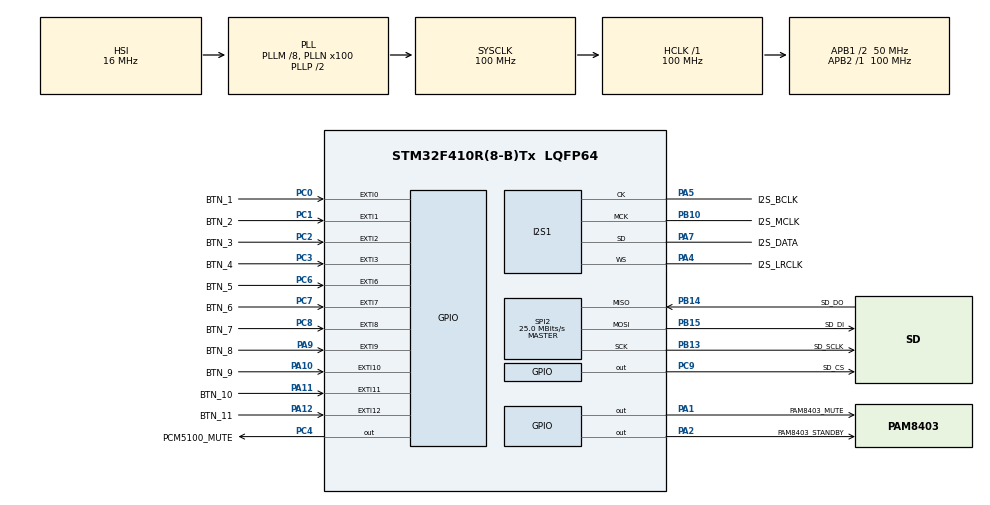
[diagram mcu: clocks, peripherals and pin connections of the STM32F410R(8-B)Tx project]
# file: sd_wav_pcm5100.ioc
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Dma.Request0=SPI1_TX
Dma.SPI1_TX.0.Direction=DMA_MEMORY_TO_PERIPH
Dma.SPI1_TX.0.FIFOMode=DMA_FIFOMODE_DISABLE
Dma.SPI1_TX.0.Instance=DMA2_Stream2
Dma.SPI1_TX.0.MemDataAlignment=DMA_MDATAALIGN_HALFWORD
Dma.SPI1_TX.0.MemInc=DMA_MINC_ENABLE
Dma.SPI1_TX.0.Mode=DMA_CIRCULAR
Dma.SPI1_TX.0.PeriphDataAlignment=DMA_PDATAALIGN_HALFWORD
Dma.SPI1_TX.0.PeriphInc=DMA_PINC_DISABLE
Dma.SPI1_TX.0.Priority=DMA_PRIORITY_MEDIUM
I2S1.AudioFreq=I2S_AUDIOFREQ_44K
I2S1.ErrorAudioFreq=-1.35 %
I2S1.FullDuplexMode=I2S_FULLDUPLEXMODE_DISABLE
I2S1.Instance=SPI$Index
I2S1.RealAudioFreq=43.402 KHz
I2S1.VirtualMode=I2S_MODE_MASTER
Mcu.Family=STM32F4
Mcu.Name=STM32F410R(8-B)Tx
Mcu.Package=LQFP64
NVIC.DMA2_Stream2_IRQn=true\:0\:0\:false\:false\:true\:true
NVIC.EXTI0_IRQn=true\:0\:0\:false\:false\:true\:true
NVIC.EXTI15_10_IRQn=true\:0\:0\:false\:false\:true\:true
NVIC.EXTI1_IRQn=true\:0\:0\:false\:false\:true\:true
NVIC.EXTI2_IRQn=true\:0\:0\:false\:false\:true\:true
NVIC.EXTI3_IRQn=true\:0\:0\:false\:false\:true\:true
NVIC.EXTI9_5_IRQn=true\:0\:0\:false\:false\:true\:true
NVIC.PriorityGroup=NVIC_PRIORITYGROUP_4
PA1.GPIO_Label=PAM8403_MUTE
PA1.Signal=GPIO_Output
PA10.GPIO_Label=BTN_9
PA10.GPIO_ModeDefaultEXTI=GPIO_MODE_IT_FALLING
PA10.GPIO_PuPd=GPIO_PULLUP
PA10.Signal=GPXTI10
PA11.GPIO_Label=BTN_10
PA11.GPIO_ModeDefaultEXTI=GPIO_MODE_IT_FALLING
PA11.GPIO_PuPd=GPIO_PULLUP
PA11.Signal=GPXTI11
PA12.GPIO_Label=BTN_11
PA12.GPIO_ModeDefaultEXTI=GPIO_MODE_IT_FALLING
PA12.GPIO_PuPd=GPIO_PULLUP
PA12.Signal=GPXTI12
PA13.GPIO_Label=TMS
PA13.Mode=Trace_Asynchronous_SW
PA13.Signal=SYS_JTMS-SWDIO
PA14.GPIO_Label=TCK
PA14.Mode=Trace_Asynchronous_SW
PA14.Signal=SYS_JTCK-SWCLK
PA2.GPIO_Label=PAM8403_STANDBY
PA2.GPIO_Speed=GPIO_SPEED_FREQ_LOW
PA2.Signal=GPIO_Output
PA4.GPIO_Label=I2S_LRCLK
PA4.GPIO_Speed=GPIO_SPEED_FREQ_MEDIUM
PA4.Mode=Half_Duplex_Master
PA4.Signal=I2S1_WS
PA5.GPIO_Label=I2S_BCLK
PA5.GPIO_Speed=GPIO_SPEED_FREQ_MEDIUM
PA5.Mode=Half_Duplex_Master
PA5.Signal=I2S1_CK
PA7.GPIO_Label=I2S_DATA
PA7.GPIO_Speed=GPIO_SPEED_FREQ_MEDIUM
PA7.Mode=Half_Duplex_Master
PA7.Signal=I2S1_SD
PA9.GPIO_Label=BTN_8
PA9.GPIO_ModeDefaultEXTI=GPIO_MODE_IT_FALLING
PA9.GPIO_PuPd=GPIO_PULLUP
PA9.Signal=GPXTI9
PB10.GPIO_Label=I2S_MCLK
PB10.GPIO_Speed=GPIO_SPEED_FREQ_MEDIUM
PB10.Mode=Master_Clock_Activated
PB10.Signal=I2S1_MCK
PB13.GPIO_Label=SD_SCLK
PB13.Mode=Full_Duplex_Master
PB13.Signal=SPI2_SCK
PB14.GPIO_Label=SD_DO
PB14.Mode=Full_Duplex_Master
PB14.Signal=SPI2_MISO
PB15.GPIO_Label=SD_DI
PB15.GPIO_PuPd=GPIO_PULLUP
PB15.Mode=Full_Duplex_Master
PB15.Signal=SPI2_MOSI
PB3.GPIO_Label=SWO
PB3.Mode=Trace_Asynchronous_SW
PB3.Signal=SYS_JTDO-SWO
PC0.GPIO_Label=BTN_1
PC0.GPIO_ModeDefaultEXTI=GPIO_MODE_IT_FALLING
PC0.GPIO_PuPd=GPIO_PULLUP
PC0.Signal=GPXTI0
PC1.GPIO_Label=BTN_2
PC1.GPIO_ModeDefaultEXTI=GPIO_MODE_IT_FALLING
PC1.GPIO_PuPd=GPIO_PULLUP
PC1.Signal=GPXTI1
PC2.GPIO_Label=BTN_3
PC2.GPIO_ModeDefaultEXTI=GPIO_MODE_IT_FALLING
PC2.GPIO_PuPd=GPIO_PULLUP
PC2.Signal=GPXTI2
PC3.GPIO_Label=BTN_4
PC3.GPIO_ModeDefaultEXTI=GPIO_MODE_IT_FALLING
PC3.GPIO_PuPd=GPIO_PULLUP
PC3.Signal=GPXTI3
PC4.GPIO_Label=PCM5100_MUTE
PC4.GPIO_Speed=GPIO_SPEED_FREQ_MEDIUM
PC4.Signal=GPIO_Output
PC6.GPIO_Label=BTN_5
PC6.GPIO_ModeDefaultEXTI=GPIO_MODE_IT_FALLING
PC6.GPIO_PuPd=GPIO_PULLUP
PC6.Signal=GPXTI6
PC7.GPIO_Label=BTN_6
PC7.GPIO_ModeDefaultEXTI=GPIO_MODE_IT_FALLING
PC7.GPIO_PuPd=GPIO_PULLUP
PC7.Signal=GPXTI7
PC8.GPIO_Label=BTN_7
PC8.GPIO_ModeDefaultEXTI=GPIO_MODE_IT_FALLING
PC8.GPIO_PuPd=GPIO_PULLUP
PC8.Signal=GPXTI8
PC9.GPIO_Label=SD_CS
PC9.Signal=GPIO_Output
ProjectManager.HeapSize=0x200
ProjectManager.StackSize=0x400
ProjectManager.TargetToolchain=TrueSTUDIO
RCC.48MHZClocksFreq_Value=50000000
RCC.AHBFreq_Value=100000000
RCC.APB1CLKDivider=RCC_HCLK_DIV2
RCC.APB1Freq_Value=50000000
RCC.APB1TimCLKDivider=1
RCC.APB1TimFreq_Value=50000000
RCC.APB2Freq_Value=100000000
RCC.APB2TimFreq_Value=100000000
RCC.CortexFreq_Value=100000000
RCC.HCLKFreq_Value=100000000
RCC.HSE_VALUE=25000000
RCC.HSI_VALUE=16000000
RCC.LSE_VALUE=32768
RCC.PLLM=8
RCC.PLLN=100
RCC.PLLSourceVirtual=RCC_PLLSOURCE_HSI
RCC.SYSCLKFreq_VALUE=100000000
RCC.SYSCLKSource=RCC_SYSCLKSOURCE_PLLCLK
RCC.VCOOutputFreq_Value=200000000
SPI2.BaudRatePrescaler=SPI_BAUDRATEPRESCALER_2
SPI2.CalculateBaudRate=25.0 MBits/s
SPI2.Direction=SPI_DIRECTION_2LINES
SPI2.Mode=SPI_MODE_MASTER
SPI2.VirtualType=VM_MASTER
board=sd_wav_pcm5100

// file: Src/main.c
/**
  ******************************************************************************
  * @file           : main.c
  * @brief          : Main program body
  ******************************************************************************
  ** This notice applies to any and all portions of this file
  * that are not between comment pairs USER CODE BEGIN and
  * USER CODE END. Other portions of this file, whether
  * inserted by the user or by software development tools
  * are owned by their respective copyright owners.
  *
  * COPYRIGHT(c) 2018 STMicroelectronics
  *
  * Redistribution and use in source and binary forms, with or without modification,
  * are permitted provided that the following conditions are met:
  *   1. Redistributions of source code must retain the above copyright notice,
  *      this list of conditions and the following disclaimer.
  *   2. Redistributions in binary form must reproduce the above copyright notice,
  *      this list of conditions and the following disclaimer in the documentation
  *      and/or other materials provided with the distribution.
  *   3. Neither the name of STMicroelectronics nor the names of its contributors
  *      may be used to endorse or promote products derived from this software
  *      without specific prior written permission.
  *
  * THIS SOFTWARE IS PROVIDED BY THE COPYRIGHT HOLDERS AND CONTRIBUTORS "AS IS"
  * AND ANY EXPRESS OR IMPLIED WARRANTIES, INCLUDING, BUT NOT LIMITED TO, THE
  * IMPLIED WARRANTIES OF MERCHANTABILITY AND FITNESS FOR A PARTICULAR PURPOSE ARE
  * DISCLAIMED. IN NO EVENT SHALL THE COPYRIGHT HOLDER OR CONTRIBUTORS BE LIABLE
  * FOR ANY DIRECT, INDIRECT, INCIDENTAL, SPECIAL, EXEMPLARY, OR CONSEQUENTIAL
  * DAMAGES (INCLUDING, BUT NOT LIMITED TO, PROCUREMENT OF SUBSTITUTE GOODS OR
  * SERVICES; LOSS OF USE, DATA, OR PROFITS; OR BUSINESS INTERRUPTION) HOWEVER
  * CAUSED AND ON ANY THEORY OF LIABILITY, WHETHER IN CONTRACT, STRICT LIABILITY,
  * OR TORT (INCLUDING NEGLIGENCE OR OTHERWISE) ARISING IN ANY WAY OUT OF THE USE
  * OF THIS SOFTWARE, EVEN IF ADVISED OF THE POSSIBILITY OF SUCH DAMAGE.
  *
  ******************************************************************************
  */
#include "main.h"
#include "stm32f4xx_hal.h"
#include "dma.h"
#include "i2s.h"
#include "spi.h"
#include "gpio.h"

/* USER CODE BEGIN Includes */
#include "pff.h"
/* USER CODE END Includes */

/* USER CODE BEGIN PV */
/* Private variables ---------------------------------------------------------*/
#define I2S_BUFFER_SIZE                     8192
#define I2S_BUFFER_BYTES_SIZE               I2S_BUFFER_SIZE
#define I2S_BUFFER_BYTES_SIZE_HALF          (I2S_BUFFER_BYTES_SIZE / 2)
uint8_t i2s_buffer[I2S_BUFFER_SIZE];

volatile uint8_t wav_file_is_playing = 0;

#define WAV_FILE_HEADER_SIZE    44
typedef struct {
	char riff[4];               // should be "RIFF"
	uint32_t file_size;         // file size in bytes - 8 bytes
	char type[4];               // should be "WAVE"
	char fmt[4];
	uint32_t fmt_len;
	uint16_t fmt_type;
	uint16_t channels;          // audio channels
	uint32_t sample_rate;       // sample rate in Hz
	uint32_t sr_bit_ch;         // (Sample Rate * Bit Size * Channels) / 8
	uint16_t bit_ch;            // (Bit Size * Channels) / 8
	uint16_t bps;               // Bits per sample (Bit Size * Samples)
	char data[4];               // should be "data"
	uint32_t data_size;         // total wav raw data size
} WavHeader_TypeDef;

/* USER CODE END PV */

void SystemClock_Config(void);

/* USER CODE BEGIN PFP */
/* Private function prototypes -----------------------------------------------*/

/* USER CODE END PFP */

/* USER CODE BEGIN 0 */
void mount_sd_card_fs(FATFS* fs, uint8_t retries) {
	uint8_t fs_mount_retries = 0;

	// Initialize SD and file system.
	while (pf_mount(fs)) {
		if (++fs_mount_retries >= retries) {
			// TO DO
			// error mounting sd card
		}
		HAL_Delay(10);
	}
}

void get_wav_info(char* wav_file, WavHeader_TypeDef* header) {
	UINT nr;
	pf_read(header->riff, sizeof(header->riff), &nr);
	pf_read(&header->file_size, sizeof(header->file_size), &nr);
	pf_read(header->type, sizeof(header->type), &nr);
	pf_read(header->fmt, sizeof(header->fmt), &nr);
	pf_read(&header->fmt_len, sizeof(header->fmt_len), &nr);
	pf_read(&header->fmt_type, sizeof(header->fmt_type), &nr);
	pf_read(&header->channels, sizeof(header->channels), &nr);
	pf_read(&header->sample_rate, sizeof(header->sample_rate), &nr);
	pf_read(&header->sr_bit_ch, sizeof(header->sr_bit_ch), &nr);
	pf_read(&header->bit_ch, sizeof(header->bit_ch), &nr);
	pf_read(&header->bps, sizeof(header->bps), &nr);
	pf_read(header->data, sizeof(header->data), &nr);
	pf_read(&header->data_size, sizeof(header->data_size), &nr);
}

void play_wav_file(char* wav_file) {
	if (pf_open(wav_file)) {
		// Failed to open file
		// TODO
	}

	WavHeader_TypeDef wav_header;
	get_wav_info(wav_file, &wav_header);

	UINT nr;
	pf_lseek(WAV_FILE_HEADER_SIZE); // skip wave file header
	pf_read((uint8_t*) i2s_buffer, I2S_BUFFER_BYTES_SIZE, &nr);

	HAL_I2S_Transmit_DMA(&hi2s1, (uint16_t*) i2s_buffer,
			I2S_BUFFER_BYTES_SIZE / 2);

	// unmute PCM and get power amplifier out of shutdown mode
	HAL_GPIO_WritePin(PAM8403_STANDBY_GPIO_Port, PAM8403_STANDBY_Pin,
			GPIO_PIN_SET);
	HAL_GPIO_WritePin(PCM5100_MUTE_GPIO_Port, PCM5100_MUTE_Pin, GPIO_PIN_SET);

	wav_file_is_playing = 1;
}

// stops the current wav file that is playing
void stop_playing_wav_file(void) {
	HAL_I2S_DMAStop(&hi2s1);
	wav_file_is_playing = 0;

	// mute PCM and put audio power amplifier in shutdown mode
	HAL_GPIO_WritePin(PAM8403_STANDBY_GPIO_Port, PAM8403_STANDBY_Pin,
			GPIO_PIN_RESET);
	HAL_GPIO_WritePin(PCM5100_MUTE_GPIO_Port, PCM5100_MUTE_Pin, GPIO_PIN_RESET);

	// Put core mcu into sleep mode

}

// I2S DMA half buffer transfer callback
void HAL_I2S_TxHalfCpltCallback(I2S_HandleTypeDef *hi2s) {
	if (hi2s->Instance == SPI1) {
		UINT nr;
		if (pf_read((uint8_t*) i2s_buffer, I2S_BUFFER_BYTES_SIZE_HALF, &nr)
				!= FR_OK) {
			// Failed to read file
			// TODO
		}

		// EOF reached
		if (nr == 0) {
			stop_playing_wav_file();
		}
	}
}

// I2S DMA full buffer transfer callback
void HAL_I2S_TxCpltCallback(I2S_HandleTypeDef *hi2s) {
	if (hi2s->Instance == SPI1) {
		UINT nr;
		if (pf_read(((uint8_t*) i2s_buffer + I2S_BUFFER_BYTES_SIZE_HALF),
				I2S_BUFFER_BYTES_SIZE_HALF, &nr) != FR_OK) {
			// Failed to read file
			// TODO
		}

		// EOF reached
		if (nr == 0) {
			stop_playing_wav_file();
		}
	}
}

// handle keys
void HAL_GPIO_EXTI_Callback(uint16_t GPIO_Pin) {

}
/* USER CODE END 0 */

int main(void)
{

  /* MCU Configuration----------------------------------------------------------*/

  /* Reset of all peripherals, Initializes the Flash interface and the Systick. */
  HAL_Init();

  /* Configure the system clock */
  SystemClock_Config();

  /* Initialize all configured peripherals */
  MX_GPIO_Init();
  MX_DMA_Init();
  MX_I2S1_Init();
  MX_SPI2_Init();
  /* USER CODE BEGIN 2 */
  FATFS fs; // fs object

  mount_sd_card_fs(&fs, 10);

  char* sounds_list[] = { "intro.wav", "party.wav", "castle.wav",
  			"carousel.wav", "child1.wav", "child2.wav", "dog.wav", "cat.wav",
  			"sheep.wav", "frog.wav", "cow.wav", "dolphin.wav", "seal.wav",
  			"whale.wav" };
  /* USER CODE END 2 */

  /* Infinite loop */
  /* USER CODE BEGIN WHILE */
  for (;;) {
  	for (uint8_t i = 0; i < (sizeof(sounds_list) / sizeof(char*)); ++i) {
  		play_wav_file(sounds_list[i]);
  		while (wav_file_is_playing)
  			;  // wait until current song finishes playing
  	}
  }

  /* USER CODE END WHILE */

}

void SystemClock_Config(void)
{

  RCC_OscInitTypeDef RCC_OscInitStruct;
  RCC_ClkInitTypeDef RCC_ClkInitStruct;
  RCC_PeriphCLKInitTypeDef PeriphClkInitStruct;

    /**Configure the main internal regulator output voltage
    */
  __HAL_RCC_PWR_CLK_ENABLE();

  __HAL_PWR_VOLTAGESCALING_CONFIG(PWR_REGULATOR_VOLTAGE_SCALE1);

    /**Initializes the CPU, AHB and APB busses clocks
    */
  RCC_OscInitStruct.OscillatorType = RCC_OSCILLATORTYPE_HSI;
  RCC_OscInitStruct.HSIState = RCC_HSI_ON;
  RCC_OscInitStruct.HSICalibrationValue = 16;
  RCC_OscInitStruct.PLL.PLLState = RCC_PLL_ON;
  RCC_OscInitStruct.PLL.PLLSource = RCC_PLLSOURCE_HSI;
  RCC_OscInitStruct.PLL.PLLM = 8;
  RCC_OscInitStruct.PLL.PLLN = 100;
  RCC_OscInitStruct.PLL.PLLP = RCC_PLLP_DIV2;
  RCC_OscInitStruct.PLL.PLLQ = 4;
  RCC_OscInitStruct.PLL.PLLR = 2;
  if (HAL_RCC_OscConfig(&RCC_OscInitStruct) != HAL_OK)
  {
    _Error_Handler(__FILE__, __LINE__);
  }

    /**Initializes the CPU, AHB and APB busses clocks
    */
  RCC_ClkInitStruct.ClockType = RCC_CLOCKTYPE_HCLK|RCC_CLOCKTYPE_SYSCLK
                              |RCC_CLOCKTYPE_PCLK1|RCC_CLOCKTYPE_PCLK2;
  RCC_ClkInitStruct.SYSCLKSource = RCC_SYSCLKSOURCE_PLLCLK;
  RCC_ClkInitStruct.AHBCLKDivider = RCC_SYSCLK_DIV1;
  RCC_ClkInitStruct.APB1CLKDivider = RCC_HCLK_DIV2;
  RCC_ClkInitStruct.APB2CLKDivider = RCC_HCLK_DIV1;

  if (HAL_RCC_ClockConfig(&RCC_ClkInitStruct, FLASH_LATENCY_3) != HAL_OK)
  {
    _Error_Handler(__FILE__, __LINE__);
  }

  PeriphClkInitStruct.PeriphClockSelection = RCC_PERIPHCLK_I2S;
  PeriphClkInitStruct.I2SClockSelection = RCC_I2SAPBCLKSOURCE_PLLR;
  if (HAL_RCCEx_PeriphCLKConfig(&PeriphClkInitStruct) != HAL_OK)
  {
    _Error_Handler(__FILE__, __LINE__);
  }

    /**Configure the Systick interrupt time
    */
  HAL_SYSTICK_Config(HAL_RCC_GetHCLKFreq()/1000);

    /**Configure the Systick
    */
  HAL_SYSTICK_CLKSourceConfig(SYSTICK_CLKSOURCE_HCLK);

  /* SysTick_IRQn interrupt configuration */
  HAL_NVIC_SetPriority(SysTick_IRQn, 0, 0);
}

void _Error_Handler(char *file, int line)
{
  while(1)
  {
  }
}

/************************ (C) COPYRIGHT STMicroelectronics *****END OF FILE****/
